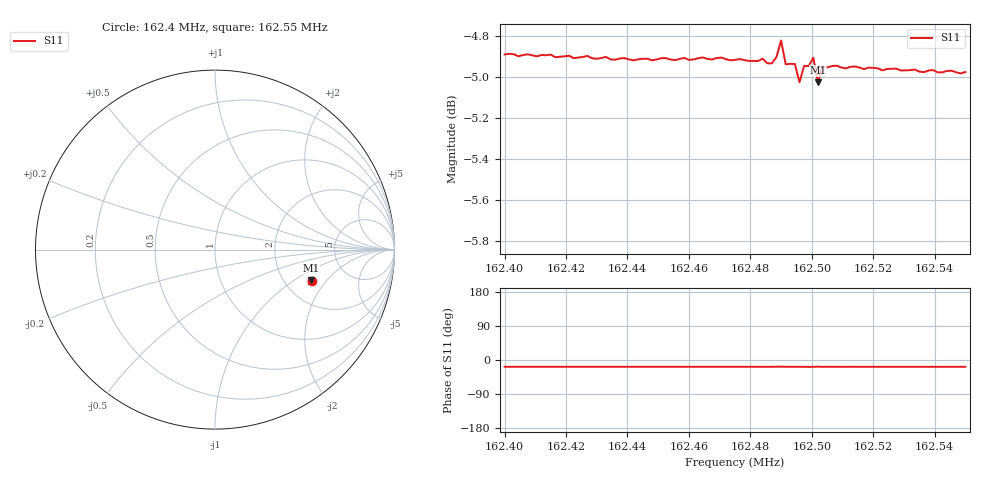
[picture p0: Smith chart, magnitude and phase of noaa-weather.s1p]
! Calibrated averaged scanner-service zoom
# Hz S RI R 50
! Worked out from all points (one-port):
!   101 points, 162.4 MHz to 162.55 MHz, reference 50 ohm
!   lowest |S11| = -5.0 dB at 162.502 MHz (marker M1), VSWR 3.55, Z = 139 - j69.1 ohm
!   |S11| at or under -10 dB: nowhere
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1.624e8  0.542 -0.1745
1.624195e8  0.5414 -0.1744
1.62421e8  0.5415 -0.1749
1.624225e8  0.5408 -0.1744
1.62427e8  0.5414 -0.1749
1.6243e8  0.5406 -0.1745
1.624375e8  0.5407 -0.1744
1.62457e8  0.5406 -0.1744
1.62475e8  0.5403 -0.1743
1.62481e8  0.54 -0.1742
1.62484e8  0.5403 -0.1754
1.624855e8  0.5392 -0.1742
1.62487e8  0.5393 -0.1737
1.624885e8  0.5417 -0.1728
1.6249e8  0.5475 -0.172
1.624915e8  0.5389 -0.174
1.624945e8  0.539 -0.174
1.62496e8  0.533 -0.1739
1.624975e8  0.5384 -0.174
1.62499e8  0.5375 -0.1766
1.625005e8  0.5407 -0.1751
1.62502e8  0.5342 -0.17
1.625035e8  0.5381 -0.1739
1.62511e8  0.5375 -0.1739
1.625125e8  0.5381 -0.1738
1.62523e8  0.5369 -0.1738
1.62532e8  0.537 -0.1737
1.6255e8  0.5365 -0.1735
